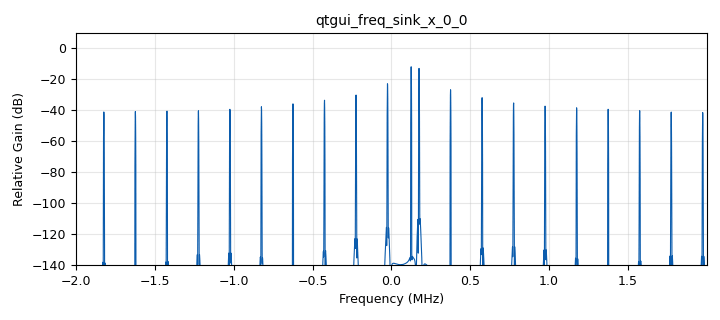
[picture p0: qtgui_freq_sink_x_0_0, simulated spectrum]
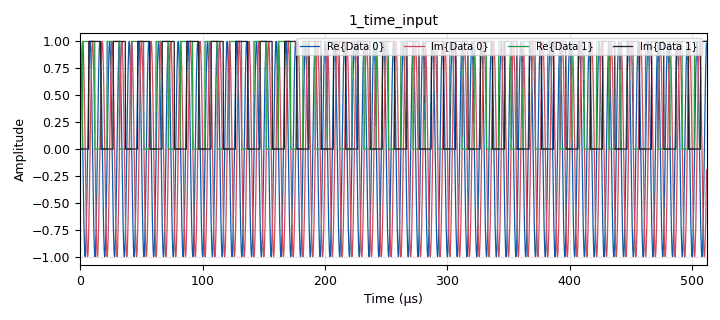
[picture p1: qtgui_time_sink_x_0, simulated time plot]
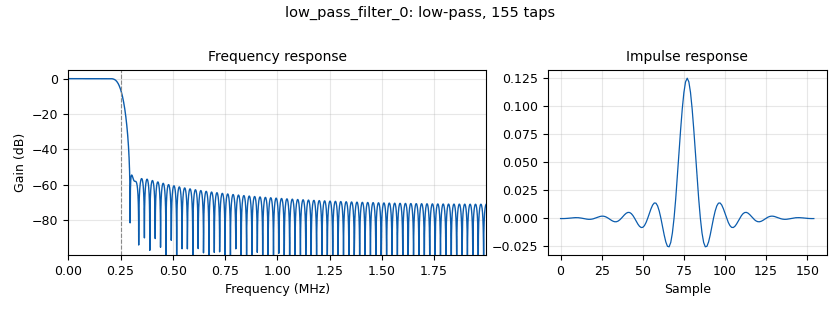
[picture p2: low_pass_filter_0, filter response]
options:
  parameters:
    generate_options: qt_gui
    id: ask_ettus_hackrf
    output_language: python
    title: Not titled yet
  states: {}

blocks:
- name: Digital_Gain
  id: variable_qtgui_range
  parameters:
    orient: Qt.Horizontal
    start: '1'
    step: '1'
    stop: '70'
    value: '1'
  states: {}
- name: Mult_selector
  id: variable_qtgui_chooser
  parameters:
    label0: Square_wave
    label1: Zero
    num_opts: '2'
    option0: '0'
    option1: '1'
    type: int
    value: '0'
  states: {}
- name: RF_Gain
  id: variable_qtgui_range
  parameters:
    orient: Qt.Horizontal
    start: '0'
    step: '5'
    stop: '100'
    value: '10'
  states: {}
- name: center_frq
  id: variable
  parameters:
    value: 100e6
  states: {}
- name: cutt_off
  id: variable_qtgui_range
  parameters:
    label: cutt_off
    orient: Qt.Horizontal
    start: int(500e3/8)
    step: int(10e3/8)
    stop: 2700e3
    value: int(500e3/8)
  states: {}
- name: cw_frq
  id: variable_qtgui_range
  parameters:
    label: cw_frq
    orient: Qt.Horizontal
    start: 500e3
    step: 10e3
    stop: 2700e3
    value: 500e3
  states: {}
- name: samp_rate
  id: variable
  parameters:
    value: 4e6
  states: {}
- name: transition
  id: variable_qtgui_range
  parameters:
    label: transition
    orient: Qt.Horizontal
    start: int(500e3/8)
    step: int(10e3/8)
    stop: 2700e3
    value: int(500e3/8)
  states: {}
- name: analog_const_source_x_0
  id: analog_const_source_x
  parameters:
    const: '1'
    type: complex
  states: {}
- name: analog_sig_source_x_0
  id: analog_sig_source_x
  parameters:
    amp: '1'
    freq: cw_frq/4
    offset: '0'
    phase: '0'
    samp_rate: samp_rate
    type: complex
    waveform: analog.GR_COS_WAVE
  states: {}
- name: analog_sig_source_x_1
  id: analog_sig_source_x
  parameters:
    amp: '1'
    freq: cw_frq/10
    offset: '0'
    phase: '0'
    samp_rate: samp_rate
    type: complex
    waveform: analog.GR_SQR_WAVE
  states: {}
- name: band_pass_filter_0
  id: band_pass_filter
  parameters:
    decim: '1'
    gain: '1'
    high_cutoff_freq: 150e3
    low_cutoff_freq: 100e3
    samp_rate: samp_rate
    type: fir_filter_ccc
    width: 25e3
    win: firdes.WIN_HAMMING
  states: {state: disabled}
- name: blocks_complex_to_mag_0
  id: blocks_complex_to_mag
  parameters: {}
  states: {}
- name: blocks_multiply_const_vxx_0
  id: blocks_multiply_const_vxx
  parameters:
    const: Digital_Gain
    type: complex
  states: {}
- name: blocks_multiply_xx_0
  id: blocks_multiply_xx
  parameters:
    type: complex
  states: {}
- name: blocks_selector_0
  id: blocks_selector
  parameters:
    enabled: 'True'
    input_index: Mult_selector
    num_inputs: '2'
    num_outputs: '1'
    output_index: '0'
    type: complex
  states: {}
- name: low_pass_filter_0
  id: low_pass_filter
  parameters:
    cutoff_freq: cw_frq/2
    decim: '1'
    gain: '1'
    samp_rate: samp_rate
    type: fir_filter_fff
    width: transition
    win: firdes.WIN_HAMMING
  states: {}
- name: osmosdr_sink_0
  id: osmosdr_sink
  parameters:
    ant0: '0'
    bb_gain0: '20'
    bw0: samp_rate
    freq0: center_frq
    gain0: RF_Gain
    if_gain0: '20'
    sample_rate: samp_rate
    sync: sync
    type: fc32
  states: {}
- name: qtgui_const_sink_x_0
  id: qtgui_const_sink_x
  parameters:
    gui_hint: tabs@2
    name: 2_const_input
    size: '4086'
    type: complex
  states: {}
- name: qtgui_freq_sink_x_0
  id: qtgui_freq_sink_x
  parameters:
    bw: samp_rate
    ctrlpanel: 'True'
    fc: center_frq
    fftsize: '4096'
    gui_hint: tabs@4
    type: complex
    wintype: firdes.WIN_BLACKMAN_hARRIS
  states: {}
- name: qtgui_freq_sink_x_0_0
  id: qtgui_freq_sink_x
  parameters:
    bw: samp_rate
    ctrlpanel: 'True'
    fc: '0'
    fftsize: '4096'
    gui_hint: tabs@1
    type: complex
    wintype: firdes.WIN_BLACKMAN_hARRIS
  states: {}
- name: qtgui_time_sink_x_0
  id: qtgui_time_sink_x
  parameters:
    ctrlpanel: 'True'
    gui_hint: tabs@0
    name: 1_time_input
    nconnections: '2'
    size: '2048'
    srate: samp_rate
    type: complex
  states: {}
- name: qtgui_time_sink_x_0_0
  id: qtgui_time_sink_x
  parameters:
    ctrlpanel: 'True'
    gui_hint: tabs@3
    name: 4_mult
    size: '1024'
    srate: samp_rate
    type: complex
  states: {}
- name: qtgui_time_sink_x_0_1
  id: qtgui_time_sink_x
  parameters:
    ctrlpanel: 'True'
    gui_hint: tabs@5
    name: 1_time_input
    size: '1024'
    srate: samp_rate
    type: float
  states: {}
- name: tabs
  id: qtgui_tab_widget
  parameters:
    label0: 1_tx_time
    label1: 2_tx_freq
    label2: 3_const_input
    label3: 4_time_input
    label4: 5_freq_mult
    label5: 6_results
    num_tabs: '6'
  states: {}
- name: uhd_usrp_source_0
  id: uhd_usrp_source
  parameters:
    ant0: RX2
    bw0: samp_rate
    center_freq0: center_frq
    dc_offs_enb0: '""'
    dev_args: '""'
    gain0: RF_Gain
    iq_imbal_enb0: '""'
    norm_gain0: 'False'
    samp_rate: samp_rate
    sync: sync
    type: fc32
  states: {}

connections:
- [analog_const_source_x_0, '0', blocks_selector_0, '1']
- [analog_sig_source_x_0, '0', blocks_multiply_xx_0, '0']
- [analog_sig_source_x_0, '0', qtgui_time_sink_x_0, '0']
- [analog_sig_source_x_1, '0', blocks_selector_0, '0']
- [analog_sig_source_x_1, '0', qtgui_time_sink_x_0, '1']
- [band_pass_filter_0, '0', osmosdr_sink_0, '0']
- [blocks_complex_to_mag_0, '0', low_pass_filter_0, '0']
- [blocks_multiply_const_vxx_0, '0', band_pass_filter_0, '0']
- [blocks_multiply_const_vxx_0, '0', osmosdr_sink_0, '0']
- [blocks_multiply_xx_0, '0', blocks_multiply_const_vxx_0, '0']
- [blocks_multiply_xx_0, '0', qtgui_freq_sink_x_0_0, '0']
- [blocks_selector_0, '0', blocks_multiply_xx_0, '1']
- [low_pass_filter_0, '0', qtgui_time_sink_x_0_1, '0']
- [uhd_usrp_source_0, '0', blocks_complex_to_mag_0, '0']
- [uhd_usrp_source_0, '0', qtgui_const_sink_x_0, '0']
- [uhd_usrp_source_0, '0', qtgui_freq_sink_x_0, '0']
- [uhd_usrp_source_0, '0', qtgui_time_sink_x_0_0, '0']

metadata:
  file_format: 1
